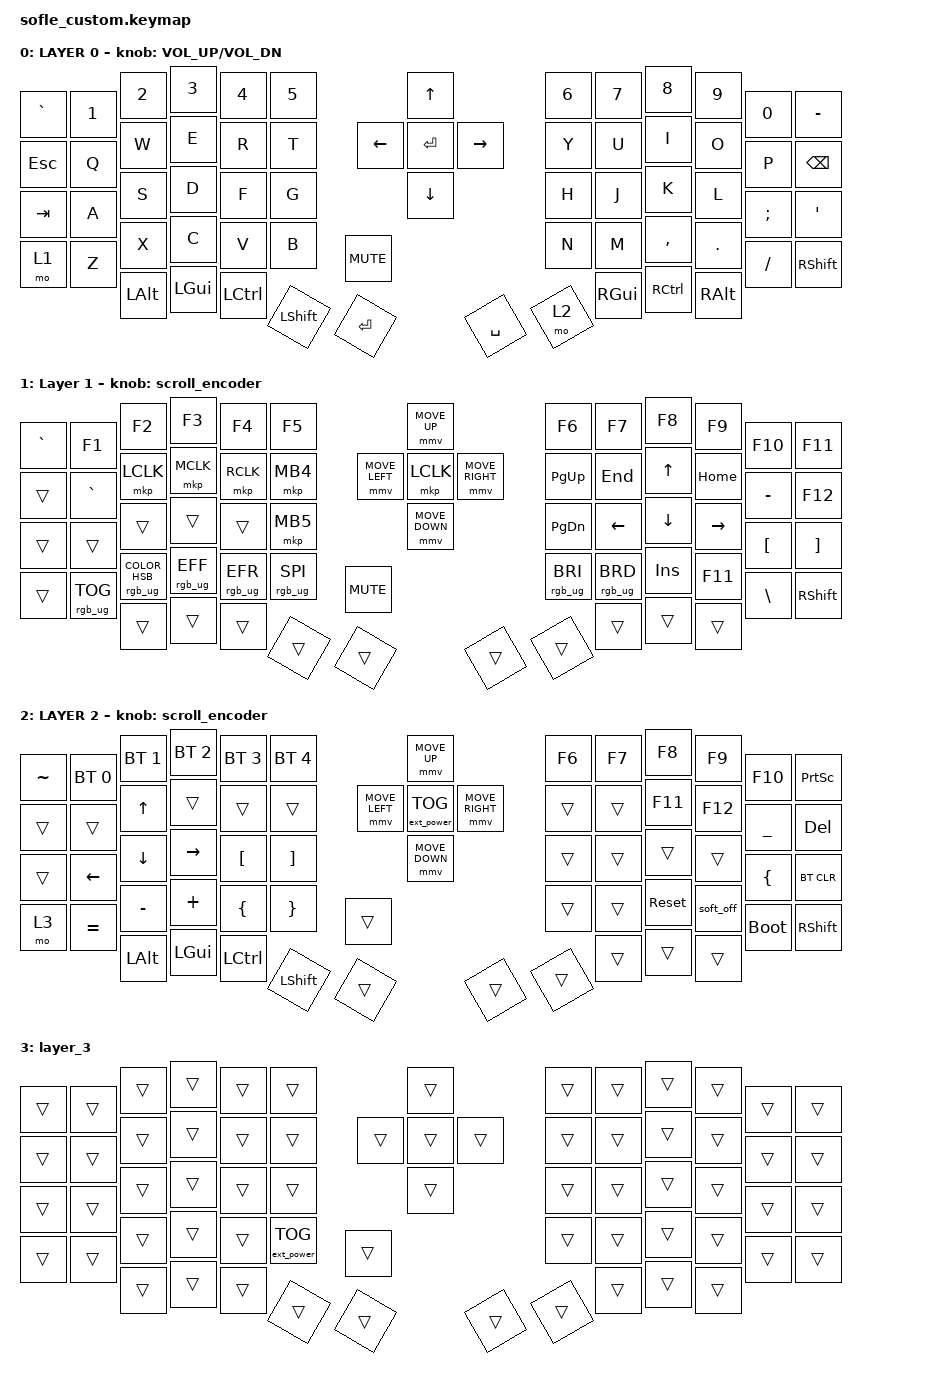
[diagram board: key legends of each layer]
#define ZMK_POINTING_DEFAULT_MOVE_VAL 1200  // 600
#define ZMK_POINTING_DEFAULT_SCRL_VAL 25   // 10

#include <input/processors.dtsi>
#include <zephyr/dt-bindings/input/input-event-codes.h>
#include <behaviors.dtsi>
#include <dt-bindings/zmk/bt.h>
#include <dt-bindings/zmk/ext_power.h>
#include <dt-bindings/zmk/keys.h>
#include <dt-bindings/zmk/pointing.h>
#include <dt-bindings/zmk/rgb.h>

&mmv_input_listener { input-processors = <&zip_xy_scaler 2 1>; };

&msc_input_listener { input-processors = <&zip_scroll_scaler 2 1>; };

&msc {
    acceleration-exponent = <1>;      // 0
    time-to-max-speed-ms = <100>;       // 300
    delay-ms = <0>;                   // 0
};

&mmv {
    time-to-max-speed-ms = <300>;
    acceleration-exponent = <0>;
    delay-ms = <0>;
};

/ {
    scroll_encoder: scroll_encoder {
        compatible = "zmk,behavior-sensor-rotate";
        #sensor-binding-cells = <0>;
        bindings = <&msc SCRL_DOWN>, <&msc SCRL_UP>;

        tap-ms = <100>;
    };

    behaviors {
    };

    keymap {
        compatible = "zmk,keymap";

        layer0 {
            bindings = <
&kp GRAVE   &kp N1    &kp N2        &kp N3            &kp N4          &kp N5        &kp UP_ARROW     &kp N6     &kp N7  &kp N8         &kp N9             &kp N0    &kp MINUS
&kp ESC     &kp Q     &kp W         &kp E             &kp R           &kp T         &kp DOWN_ARROW   &kp Y      &kp U   &kp I          &kp O              &kp P     &kp BACKSPACE
&kp TAB     &kp A     &kp S         &kp D             &kp F           &kp G         &kp LEFT_ARROW   &kp H      &kp J   &kp K          &kp L              &kp SEMI  &kp APOS
&mo 1       &kp Z     &kp X         &kp C             &kp V           &kp B         &kp RIGHT_ARROW  &kp N      &kp M   &kp COMMA      &kp DOT            &kp FSLH  &kp RSHIFT
&kp C_MUTE  &kp LALT  &kp LEFT_GUI  &kp LEFT_CONTROL  &kp LEFT_SHIFT  &kp RETURN    &kp ENTER        &kp SPACE  &mo 2   &kp RIGHT_GUI  &kp RIGHT_CONTROL  &kp RALT
            >;

            sensor-bindings = <&inc_dec_kp C_VOLUME_UP C_VOL_DN>;
            display-name = "LAYER 0";
        };

        layer_1 {
            bindings = <
&kp GRAVE   &kp F1           &kp F2                            &kp F3           &kp F4           &kp F5             &mmv MOVE_UP     &kp F6           &kp F7           &kp F8      &kp F9     &kp F10           &kp F11
&trans      &kp GRAVE        &mkp LCLK                         &mkp MCLK        &mkp RCLK        &mkp MB4           &mmv MOVE_DOWN   &kp PG_UP        &kp END          &kp UP      &kp HOME   &kp MINUS         &kp F12
&trans      &trans           &trans                            &trans           &trans           &mkp MB5           &mmv MOVE_LEFT   &kp PG_DN        &kp LEFT         &kp DOWN    &kp RIGHT  &kp LEFT_BRACKET  &kp RIGHT_BRACKET
&trans      &rgb_ug RGB_TOG  &rgb_ug RGB_COLOR_HSB(13,100,53)  &rgb_ug RGB_EFF  &rgb_ug RGB_EFR  &rgb_ug RGB_SPI    &mmv MOVE_RIGHT  &rgb_ug RGB_BRI  &rgb_ug RGB_BRD  &kp INSERT  &kp F11    &kp BACKSLASH     &kp RIGHT_SHIFT
&kp C_MUTE  &trans           &trans                            &trans           &trans           &trans             &mkp LCLK        &trans           &trans           &trans      &trans     &trans
            >;

            display-name = "Layer 1";
            sensor-bindings = <&scroll_encoder>;
        };

        layer_2 {
            bindings = <
&kp TILDE  &bt BT_SEL 0    &bt BT_SEL 1    &bt BT_SEL 2      &bt BT_SEL 3      &bt BT_SEL 4         &mmv MOVE_UP       &kp F6  &kp F7  &kp F8      &kp F9     &kp F10      &kp PRINTSCREEN
&trans     &trans          &kp UP_ARROW    &trans            &trans            &trans               &mmv MOVE_DOWN     &trans  &trans  &kp F11     &kp F12    &kp UNDER    &kp DELETE
&trans     &kp LEFT_ARROW  &kp DOWN_ARROW  &kp RIGHT_ARROW   &kp LEFT_BRACKET  &kp RIGHT_BRACKET    &mmv MOVE_LEFT     &trans  &trans  &trans      &trans     &kp LBRC     &bt BT_CLR
&mo 3      &kp EQUAL       &kp MINUS       &kp PLUS          &kp LEFT_BRACE    &kp RIGHT_BRACE      &mmv MOVE_RIGHT    &trans  &trans  &sys_reset  &soft_off  &bootloader  &kp RIGHT_SHIFT
&trans     &kp LEFT_ALT    &kp LEFT_GUI    &kp LEFT_CONTROL  &kp LEFT_SHIFT    &trans               &ext_power EP_TOG  &trans  &trans  &trans      &trans     &trans
            >;

            display-name = "LAYER 2";
            sensor-bindings = <&scroll_encoder>;
        };

        layer_3 {
            bindings = <
&trans  &trans  &trans  &trans  &trans  &trans               &trans  &trans  &trans  &trans  &trans  &trans  &trans
&trans  &trans  &trans  &trans  &trans  &trans               &trans  &trans  &trans  &trans  &trans  &trans  &trans
&trans  &trans  &trans  &trans  &trans  &trans               &trans  &trans  &trans  &trans  &trans  &trans  &trans
&trans  &trans  &trans  &trans  &trans  &ext_power EP_TOG    &trans  &trans  &trans  &trans  &trans  &trans  &trans
&trans  &trans  &trans  &trans  &trans  &trans               &trans  &trans  &trans  &trans  &trans  &trans
            >;
        };
    };
};
